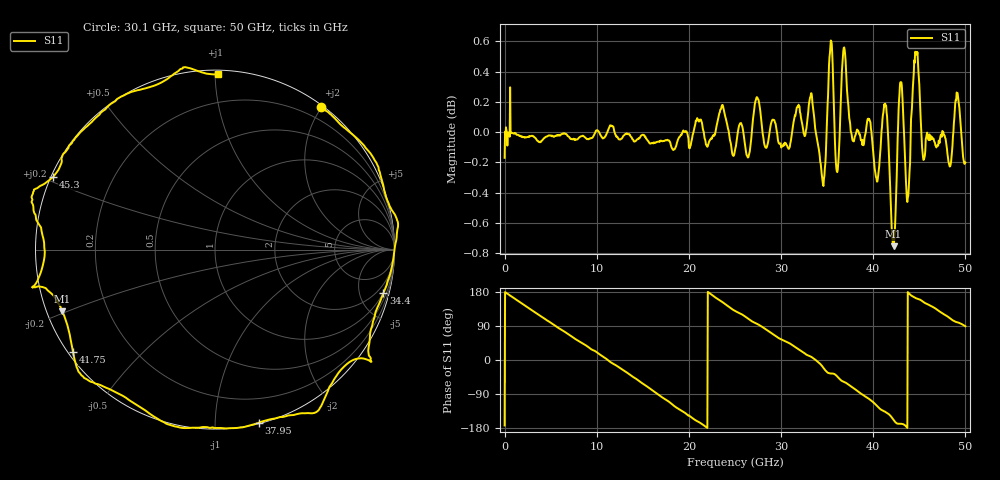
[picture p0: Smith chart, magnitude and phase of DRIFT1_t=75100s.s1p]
!Created with skrf (http://scikit-rf.org).
# Hz S RI R 50.0
!freq ReS11 ImS11
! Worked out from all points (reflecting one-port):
!   1001 points, 300 kHz to 50 GHz, reference 50 ohm
!   lowest |S11| = -0.8 dB at 42.2 GHz (marker M1), VSWR 23.04, Z = 2.25 - j9.71 ohm
!   phase of S11 starts at -173 deg and turns -818 deg over the sweep
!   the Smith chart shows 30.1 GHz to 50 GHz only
!   S11 on the Smith chart (normalised r, x): 30.1 GHz: 0.03, +1.99; 34.4 GHz: 0.98, -7.78; 37.95 GHz: 0.01, -1.29; 41.75 GHz: 0.01, -0.32; 45.3 GHz: 0.01, +0.21; 50 GHz: 0.02, +1.02
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300000  -0.9729 -0.1228
1.450291e9  -0.9126 0.4039
3.25028e9  -0.593 0.8002
6.250262e9  0.1988 0.9787
9.500243e9  0.8876 0.4513
1.250022e10  0.9301 -0.3518
1.580021e10  0.242 -0.9613
1.74002e10  -0.2237 -0.9681
1.875019e10  -0.5988 -0.792
2.165017e10  -0.9904 -0.1213
2.345016e10  -0.93 0.4128
2.500015e10  -0.6275 0.7608
2.745014e10  -0.083 1.023
3.010012e10  0.5904 0.7934
3.125011e10  0.7816 0.6284
3.31501e10  1.012 0.1726
3.440009e10  0.9386 -0.2415
3.520009e10  0.865 -0.5994
3.750008e10  0.3774 -0.9327
3.795007e10  0.2451 -0.9643
3.965006e10  -0.2555 -0.9754
4.175005e10  -0.7914 -0.5691
4.220005e10  -0.8499 -0.3437
4.290004e10  -1.015 -0.2109
4.375004e10  -0.9512 0.0129
4.530003e10  -0.9013 0.4058
4.765001e10  -0.5121 0.8569
5e10  0.0193 0.9769
